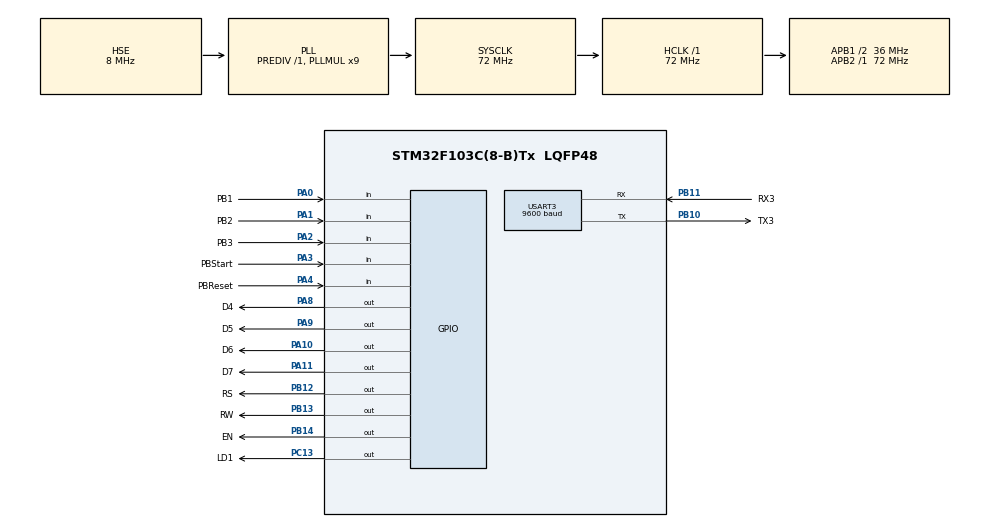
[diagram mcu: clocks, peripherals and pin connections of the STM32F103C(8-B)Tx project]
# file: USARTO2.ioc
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Mcu.Family=STM32F1
Mcu.Name=STM32F103C(8-B)Tx
Mcu.Package=LQFP48
NVIC.PriorityGroup=NVIC_PRIORITYGROUP_4
NVIC.TIM2_IRQn=true\:0\:0\:false\:false\:true
PA0-WKUP.GPIO_Label=PB1
PA0-WKUP.GPIO_PuPd=GPIO_PULLUP
PA0-WKUP.Signal=GPIO_Input
PA1.GPIO_Label=PB2
PA1.GPIO_PuPd=GPIO_PULLUP
PA1.Signal=GPIO_Input
PA10.GPIO_Label=D6
PA10.Signal=GPIO_Output
PA11.GPIO_Label=D7
PA11.Signal=GPIO_Output
PA13.Mode=Serial_Wire
PA13.Signal=SYS_JTMS-SWDIO
PA14.Mode=Serial_Wire
PA14.Signal=SYS_JTCK-SWCLK
PA2.GPIO_Label=PB3
PA2.GPIO_PuPd=GPIO_PULLUP
PA2.Signal=GPIO_Input
PA3.GPIO_Label=PBStart
PA3.GPIO_PuPd=GPIO_PULLUP
PA3.Signal=GPIO_Input
PA4.GPIO_Label=PBReset
PA4.GPIO_PuPd=GPIO_PULLUP
PA4.Signal=GPIO_Input
PA8.GPIO_Label=D4
PA8.Signal=GPIO_Output
PA9.GPIO_Label=D5
PA9.Signal=GPIO_Output
PB10.GPIO_Label=TX3
PB10.Mode=Asynchronous
PB10.Signal=USART3_TX
PB11.GPIO_Label=RX3
PB11.Mode=Asynchronous
PB11.Signal=USART3_RX
PB12.GPIO_Label=RS
PB12.Signal=GPIO_Output
PB13.GPIO_Label=RW
PB13.Signal=GPIO_Output
PB14.GPIO_Label=EN
PB14.Signal=GPIO_Output
PC13-TAMPER-RTC.GPIO_Label=LD1
PC13-TAMPER-RTC.Signal=GPIO_Output
PD0-OSC_IN.Mode=HSE-External-Oscillator
PD0-OSC_IN.Signal=RCC_OSC_IN
PD1-OSC_OUT.Mode=HSE-External-Oscillator
PD1-OSC_OUT.Signal=RCC_OSC_OUT
ProjectManager.HeapSize=0x200
ProjectManager.StackSize=0x400
ProjectManager.TargetToolchain=SW4STM32
RCC.AHBFreq_Value=72000000
RCC.APB1CLKDivider=RCC_HCLK_DIV2
RCC.APB1Freq_Value=36000000
RCC.APB1TimFreq_Value=72000000
RCC.APB2Freq_Value=72000000
RCC.APB2TimFreq_Value=72000000
RCC.HCLKFreq_Value=72000000
RCC.PLLMUL=RCC_PLL_MUL9
RCC.PLLSourceVirtual=RCC_PLLSOURCE_HSE
RCC.SYSCLKFreq_VALUE=72000000
RCC.SYSCLKSource=RCC_SYSCLKSOURCE_PLLCLK
RCC.USBFreq_Value=48000000
RCC.USBPrescaler=RCC_USBCLKSOURCE_PLL_DIV1_5
TIM2.Period=19
TIM2.Prescaler=35999
USART3.BaudRate=9600
USART3.VirtualMode=VM_ASYNC
VP_TIM2_VS_ClockSourceINT.Mode=Internal
board=USARTO2

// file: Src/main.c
/**
  ******************************************************************************
  * File Name          : main.c
  * Description        : Main program body
  ******************************************************************************
  *
  * COPYRIGHT(c) 2017 STMicroelectronics
  *
  * Redistribution and use in source and binary forms, with or without modification,
  * are permitted provided that the following conditions are met:
  *   1. Redistributions of source code must retain the above copyright notice,
  *      this list of conditions and the following disclaimer.
  *   2. Redistributions in binary form must reproduce the above copyright notice,
  *      this list of conditions and the following disclaimer in the documentation
  *      and/or other materials provided with the distribution.
  *   3. Neither the name of STMicroelectronics nor the names of its contributors
  *      may be used to endorse or promote products derived from this software
  *      without specific prior written permission.
  *
  * THIS SOFTWARE IS PROVIDED BY THE COPYRIGHT HOLDERS AND CONTRIBUTORS "AS IS"
  * AND ANY EXPRESS OR IMPLIED WARRANTIES, INCLUDING, BUT NOT LIMITED TO, THE
  * IMPLIED WARRANTIES OF MERCHANTABILITY AND FITNESS FOR A PARTICULAR PURPOSE ARE
  * DISCLAIMED. IN NO EVENT SHALL THE COPYRIGHT HOLDER OR CONTRIBUTORS BE LIABLE
  * FOR ANY DIRECT, INDIRECT, INCIDENTAL, SPECIAL, EXEMPLARY, OR CONSEQUENTIAL
  * DAMAGES (INCLUDING, BUT NOT LIMITED TO, PROCUREMENT OF SUBSTITUTE GOODS OR
  * SERVICES; LOSS OF USE, DATA, OR PROFITS; OR BUSINESS INTERRUPTION) HOWEVER
  * CAUSED AND ON ANY THEORY OF LIABILITY, WHETHER IN CONTRACT, STRICT LIABILITY,
  * OR TORT (INCLUDING NEGLIGENCE OR OTHERWISE) ARISING IN ANY WAY OUT OF THE USE
  * OF THIS SOFTWARE, EVEN IF ADVISED OF THE POSSIBILITY OF SUCH DAMAGE.
  *
  ******************************************************************************
  */
#include "main.h"
#include "stm32f1xx_hal.h"

/* USER CODE BEGIN Includes */
#include "lcd.h"
#include "stm32f1xx_hal_uart.h"
//#include "usbd_cdc_if.h"
/* USER CODE END Includes */

TIM_HandleTypeDef htim2;

UART_HandleTypeDef huart3;

/* USER CODE BEGIN PV */
/* Private variables ---------------------------------------------------------*/
uint8_t counter, jam, menit, detik, lapA, lapB, lapC;
char buf[16];
char kata[125];
char str[100];
uint32_t counter32;

int isStart = 0;
int buttonState1;
int lastButtonState1 = 1;
unsigned long lastDebounceTime1 = 0;

int kondisi2 = 0;
int buttonState2;
int lastButtonState2 = 1;
unsigned long lastDebounceTime2 = 0;

unsigned long debounceDelay = 50;
unsigned long prevtick;
/* USER CODE END PV */

void SystemClock_Config(void);
void Error_Handler(void);
static void MX_GPIO_Init(void);
static void MX_TIM2_Init(void);
static void MX_USART3_UART_Init(void);

/* USER CODE BEGIN PFP */
/* Private function prototypes -----------------------------------------------*/

/* USER CODE END PFP */

/* USER CODE BEGIN 0 */
unsigned char bouncing=0xFF;
uint8_t readPinND(GPIO_TypeDef* Port, uint16_t Pin){		//SERING BOUNCING
	uint8_t flag = 0;
	if(HAL_GPIO_ReadPin(Port,Pin)== GPIO_PIN_RESET){
		bouncing=(bouncing<<1);
	} else {
		bouncing= (bouncing<<1)|1;
	}
	if (bouncing==0x03)
		flag = 1;
	return flag;
}

//	  int reading1 = HAL_GPIO_ReadPin(PB1_GPIO_Port,PB1_Pin);
//	  if(reading1 != lastButtonState1) lastDebounceTime1 = HAL_GetTick();
//	  if (HAL_GetTick() - lastDebounceTime1 > debounceDelay) {
//	    if (reading1 != buttonState1) {
//	      buttonState1 = reading1;
//	      if (buttonState1 == GPIO_PIN_SET) kondisi1 = !kondisi1;
//	    }
//	  }
//	  lastButtonState1 = reading1;

uint8_t readPin(GPIO_TypeDef* Port, uint16_t Pin) {
	uint8_t flag = 0;
	uint32_t Timeout_loop=0;
	uint32_t Timeout_value=0x7FFFFF;
	if (HAL_GPIO_ReadPin(Port, Pin) == GPIO_PIN_RESET) {
		HAL_Delay(20);
		if (HAL_GPIO_ReadPin(Port, Pin)==GPIO_PIN_RESET){
			while(HAL_GPIO_ReadPin(Port, Pin)==GPIO_PIN_RESET && Timeout_loop++ < Timeout_value);
			if(Timeout_loop >= Timeout_value) {
				char strerr[16];
				switch(Pin) {
				case GPIO_PIN_3:
					sprintf(strerr,"sensor-A");
					break;
				case GPIO_PIN_4:
					sprintf(strerr,"sensor-B");
					break;
				case GPIO_PIN_2:
					sprintf(strerr,"sensor-C");
					break;
				case GPIO_PIN_0:
					sprintf(strerr,"button-start");
					break;
				case GPIO_PIN_1:
					sprintf(strerr,"button-reset");
					break;
				}
				sprintf(str,"Error:%s\r\n",strerr);
				HAL_UART_Transmit(&huart3,str,strlen(str),1000);
//				CDC_Transmit_FS(str, strlen(str));
			}
			else {
				flag = 1;
			}
		}
	}
	return flag;
}

void TimerStart() {
	counter++;
	if(counter==100) {
		detik++;
		if(detik==60) {
			menit++;
			detik = 0;
		}
		if(menit==60) {
			jam++;
			menit = 0;
		}
		counter = 0;
	}
}

void TimerReset() {
	isStart = counter = detik = menit = jam = 0;
}

void CounterPlus(uint8_t mobil) {
	if(isStart == 1) {
		switch(mobil) {
		case 1:
			lapA++;
			break;
		case 2:
			lapB++;
			break;
		case 3:
			lapC++;
			break;
		}
	}
//	sprintf(str,"%02d:%02d:%02d  |  A:%2d   B:%2d   C:%2d\r\n",menit,detik,counter,lapA,lapB,lapC);
//	HAL_UART_Transmit(&huart3,str,strlen(str),100);
	sprintf(str,"%d-%d-%d\r\n",lapA,lapB,lapC);
	HAL_UART_Transmit(&huart3,str,strlen(str),100);
}

void CounterReset() {
	lapA = lapB = lapC = 0;
}

void DisplayLCD() {
	lcd_gotoxy(0,0);
	sprintf(buf,"    %02d:%02d:%02d",menit,detik,counter);
	lcd_putstr(buf);
	lcd_gotoxy(0,1);
	sprintf(buf,"A:%02d  B:%02d  C:%02d",lapA,lapB,lapC);
	lcd_putstr(buf);
}

void DisplayInit() {
	lcd_init();
	lcd_gotoxy(0,0);
	lcd_putstr("  PROJECT UTS");
	lcd_gotoxy(0,1);
	lcd_putstr("EMBEDDED SYSTEM");
	HAL_Delay(500);
	lcd_clear();
//	lcd_gotoxy(0,0);
//	lcd_putstr("Bagaskara");
//	lcd_gotoxy(0,1);
//	lcd_putstr("1110151041");
	HAL_Delay(500);
	lcd_clear();
	DisplayLCD();
}

/* USER CODE END 0 */

int main(void)
{

  /* MCU Configuration----------------------------------------------------------*/

  /* Reset of all peripherals, Initializes the Flash interface and the Systick. */
  HAL_Init();

  /* Configure the system clock */
  SystemClock_Config();

  /* Initialize all configured peripherals */
  MX_GPIO_Init();
  MX_TIM2_Init();
  MX_USART3_UART_Init();

  /* USER CODE BEGIN 2 */
  HAL_TIM_Base_Start_IT(&htim2);
  DisplayInit();
  /* USER CODE END 2 */

  /* Infinite loop */
  /* USER CODE BEGIN WHILE */
  while(1)
  {
//	  lapA++;
//	  lapB=100+lapA;
//	  lapC=200+lapA;

//	  if(lapA>=50) lapA=0;

	sprintf(str,"2-3-4-\r\n",lapA,lapB,lapC);
	HAL_UART_Transmit(&huart3,str,strlen(str),100);

	  if(readPin(PB1_GPIO_Port, PB1_Pin)) {
		  isStart = !isStart;
	  }
	  if(readPin(PB2_GPIO_Port, PB2_Pin)) {
		  TimerReset();
		  CounterReset();
	  }
	  if(readPin(PB3_GPIO_Port, PB3_Pin)) {
		  CounterPlus(1);
	  }
	  if(readPin(PBStart_GPIO_Port, PBStart_Pin)) {
		  CounterPlus(2);
	  }
	  if(readPin(PBReset_GPIO_Port, PBReset_Pin)) {
		  CounterPlus(3);
	  }

	  DisplayLCD();

//	  sprintf(kata,"%d\r\n",counter32++);
//	  CDC_Transmit_FS(kata, strlen(kata));

//	  if(HAL_GetTick() - prevtick >= 200) {
//	  		sprintf(kata,"%d:%02d:%02d:%02d A=%d B=%d\r\n",jam,menit,detik,counter,lapA,lapB);
//	  		CDC_Transmit_FS(kata, strlen(kata));
//	  		prevtick = HAL_GetTick();
//	  }
  /* USER CODE END WHILE */

  }

}

/** System Clock Configuration
*/
void SystemClock_Config(void)
{

  RCC_OscInitTypeDef RCC_OscInitStruct;
  RCC_ClkInitTypeDef RCC_ClkInitStruct;

    /**Initializes the CPU, AHB and APB busses clocks
    */
  RCC_OscInitStruct.OscillatorType = RCC_OSCILLATORTYPE_HSE;
  RCC_OscInitStruct.HSEState = RCC_HSE_ON;
  RCC_OscInitStruct.HSEPredivValue = RCC_HSE_PREDIV_DIV1;
  RCC_OscInitStruct.HSIState = RCC_HSI_ON;
  RCC_OscInitStruct.PLL.PLLState = RCC_PLL_ON;
  RCC_OscInitStruct.PLL.PLLSource = RCC_PLLSOURCE_HSE;
  RCC_OscInitStruct.PLL.PLLMUL = RCC_PLL_MUL9;
  if (HAL_RCC_OscConfig(&RCC_OscInitStruct) != HAL_OK)
  {
    Error_Handler();
  }

    /**Initializes the CPU, AHB and APB busses clocks
    */
  RCC_ClkInitStruct.ClockType = RCC_CLOCKTYPE_HCLK|RCC_CLOCKTYPE_SYSCLK
                              |RCC_CLOCKTYPE_PCLK1|RCC_CLOCKTYPE_PCLK2;
  RCC_ClkInitStruct.SYSCLKSource = RCC_SYSCLKSOURCE_PLLCLK;
  RCC_ClkInitStruct.AHBCLKDivider = RCC_SYSCLK_DIV1;
  RCC_ClkInitStruct.APB1CLKDivider = RCC_HCLK_DIV2;
  RCC_ClkInitStruct.APB2CLKDivider = RCC_HCLK_DIV1;

  if (HAL_RCC_ClockConfig(&RCC_ClkInitStruct, FLASH_LATENCY_2) != HAL_OK)
  {
    Error_Handler();
  }

    /**Configure the Systick interrupt time
    */
  HAL_SYSTICK_Config(HAL_RCC_GetHCLKFreq()/1000);

    /**Configure the Systick
    */
  HAL_SYSTICK_CLKSourceConfig(SYSTICK_CLKSOURCE_HCLK);

  /* SysTick_IRQn interrupt configuration */
  HAL_NVIC_SetPriority(SysTick_IRQn, 0, 0);
}

/* TIM2 init function */
static void MX_TIM2_Init(void)
{

  TIM_ClockConfigTypeDef sClockSourceConfig;
  TIM_MasterConfigTypeDef sMasterConfig;

  htim2.Instance = TIM2;
  htim2.Init.Prescaler = 35999;
  htim2.Init.CounterMode = TIM_COUNTERMODE_UP;
  htim2.Init.Period = 19;
  htim2.Init.ClockDivision = TIM_CLOCKDIVISION_DIV1;
  if (HAL_TIM_Base_Init(&htim2) != HAL_OK)
  {
    Error_Handler();
  }

  sClockSourceConfig.ClockSource = TIM_CLOCKSOURCE_INTERNAL;
  if (HAL_TIM_ConfigClockSource(&htim2, &sClockSourceConfig) != HAL_OK)
  {
    Error_Handler();
  }

  sMasterConfig.MasterOutputTrigger = TIM_TRGO_RESET;
  sMasterConfig.MasterSlaveMode = TIM_MASTERSLAVEMODE_DISABLE;
  if (HAL_TIMEx_MasterConfigSynchronization(&htim2, &sMasterConfig) != HAL_OK)
  {
    Error_Handler();
  }

}

/* USART3 init function */
static void MX_USART3_UART_Init(void)
{

  huart3.Instance = USART3;
  huart3.Init.BaudRate = 9600;
  huart3.Init.WordLength = UART_WORDLENGTH_8B;
  huart3.Init.StopBits = UART_STOPBITS_1;
  huart3.Init.Parity = UART_PARITY_NONE;
  huart3.Init.Mode = UART_MODE_TX_RX;
  huart3.Init.HwFlowCtl = UART_HWCONTROL_NONE;
  huart3.Init.OverSampling = UART_OVERSAMPLING_16;
  if (HAL_UART_Init(&huart3) != HAL_OK)
  {
    Error_Handler();
  }

}

/** Configure pins as
        * Analog
        * Input
        * Output
        * EVENT_OUT
        * EXTI
*/
static void MX_GPIO_Init(void)
{

  GPIO_InitTypeDef GPIO_InitStruct;

  /* GPIO Ports Clock Enable */
  __HAL_RCC_GPIOC_CLK_ENABLE();
  __HAL_RCC_GPIOD_CLK_ENABLE();
  __HAL_RCC_GPIOA_CLK_ENABLE();
  __HAL_RCC_GPIOB_CLK_ENABLE();

  /*Configure GPIO pin Output Level */
  HAL_GPIO_WritePin(LD1_GPIO_Port, LD1_Pin, GPIO_PIN_RESET);

  /*Configure GPIO pin Output Level */
  HAL_GPIO_WritePin(GPIOB, RS_Pin|RW_Pin|EN_Pin, GPIO_PIN_RESET);

  /*Configure GPIO pin Output Level */
  HAL_GPIO_WritePin(GPIOA, D4_Pin|D5_Pin|D6_Pin|D7_Pin, GPIO_PIN_RESET);

  /*Configure GPIO pin : LD1_Pin */
  GPIO_InitStruct.Pin = LD1_Pin;
  GPIO_InitStruct.Mode = GPIO_MODE_OUTPUT_PP;
  GPIO_InitStruct.Speed = GPIO_SPEED_FREQ_LOW;
  HAL_GPIO_Init(LD1_GPIO_Port, &GPIO_InitStruct);

  /*Configure GPIO pins : PB1_Pin PB2_Pin PB3_Pin PBStart_Pin
                           PBReset_Pin */
  GPIO_InitStruct.Pin = PB1_Pin|PB2_Pin|PB3_Pin|PBStart_Pin
                          |PBReset_Pin;
  GPIO_InitStruct.Mode = GPIO_MODE_INPUT;
  GPIO_InitStruct.Pull = GPIO_PULLUP;
  HAL_GPIO_Init(GPIOA, &GPIO_InitStruct);

  /*Configure GPIO pins : RS_Pin RW_Pin EN_Pin */
  GPIO_InitStruct.Pin = RS_Pin|RW_Pin|EN_Pin;
  GPIO_InitStruct.Mode = GPIO_MODE_OUTPUT_PP;
  GPIO_InitStruct.Speed = GPIO_SPEED_FREQ_LOW;
  HAL_GPIO_Init(GPIOB, &GPIO_InitStruct);

  /*Configure GPIO pins : D4_Pin D5_Pin D6_Pin D7_Pin */
  GPIO_InitStruct.Pin = D4_Pin|D5_Pin|D6_Pin|D7_Pin;
  GPIO_InitStruct.Mode = GPIO_MODE_OUTPUT_PP;
  GPIO_InitStruct.Speed = GPIO_SPEED_FREQ_LOW;
  HAL_GPIO_Init(GPIOA, &GPIO_InitStruct);

}

/* USER CODE BEGIN 4 */
void HAL_TIM_PeriodElapsedCallback(TIM_HandleTypeDef *htim) {
	if(htim->Instance == TIM2) {
		if(isStart == 1)
			TimerStart();
	}
}
/* USER CODE END 4 */

void Error_Handler(void)
{
  while(1)
  {
  }
}

/************************ (C) COPYRIGHT STMicroelectronics *****END OF FILE****/
